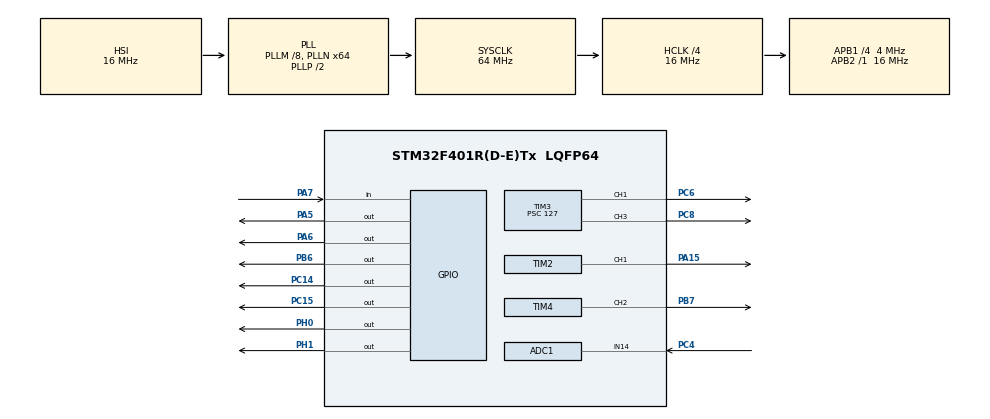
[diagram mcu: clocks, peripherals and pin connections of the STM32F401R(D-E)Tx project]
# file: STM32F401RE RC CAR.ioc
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ADC1.Channel-0\#ChannelRegularConversion=ADC_CHANNEL_14
ADC1.ContinuousConvMode=ENABLE
ADC1.NbrOfConversionFlag=1
ADC1.Rank-0\#ChannelRegularConversion=1
ADC1.SamplingTime-0\#ChannelRegularConversion=ADC_SAMPLETIME_3CYCLES
ADC1.master=1
FREERTOS.Tasks01=servotask,24,128,servoTask,Default,NULL,Dynamic,NULL,NULL;motordrivertask,24,128,motorDriverTask,Default,NULL,Dynamic,NULL,NULL;rfsignaltask,40,128,rfSignalTask,Default,NULL,Dynamic,NULL,NULL
Mcu.Family=STM32F4
Mcu.Name=STM32F401R(D-E)Tx
Mcu.Package=LQFP64
NVIC.PriorityGroup=NVIC_PRIORITYGROUP_4
NVIC.TIM5_IRQn=true\:15\:0\:false\:false\:true\:false\:false\:true\:true
NVIC.TimeBase=TIM5_IRQn
NVIC.TimeBaseIP=TIM5
PA15.Signal=S_TIM2_CH1_ETR
PA5.Signal=GPIO_Output
PA6.Signal=GPIO_Output
PA7.Signal=GPIO_Input
PB6.Signal=GPIO_Output
PB7.Signal=S_TIM4_CH2
PC14-OSC32_IN.Signal=GPIO_Output
PC15-OSC32_OUT.Signal=GPIO_Output
PC4.Signal=ADCx_IN14
PC6.Signal=S_TIM3_CH1
PC8.Signal=S_TIM3_CH3
PH0\ -\ OSC_IN.Signal=GPIO_Output
PH1\ -\ OSC_OUT.Signal=GPIO_Output
ProjectManager.HeapSize=0x200
ProjectManager.StackSize=0x400
ProjectManager.TargetToolchain=STM32CubeIDE
RCC.48MHZClocksFreq_Value=32000000
RCC.AHBCLKDivider=RCC_SYSCLK_DIV4
RCC.AHBFreq_Value=16000000
RCC.APB1CLKDivider=RCC_HCLK_DIV4
RCC.APB1Freq_Value=4000000
RCC.APB1TimFreq_Value=8000000
RCC.APB2Freq_Value=16000000
RCC.APB2TimFreq_Value=16000000
RCC.CortexFreq_Value=16000000
RCC.HCLKFreq_Value=16000000
RCC.HSE_VALUE=25000000
RCC.HSI_VALUE=16000000
RCC.LSE_VALUE=32768
RCC.PLLM=8
RCC.PLLN=64
RCC.SYSCLKFreq_VALUE=64000000
RCC.SYSCLKSource=RCC_SYSCLKSOURCE_PLLCLK
RCC.VCOOutputFreq_Value=128000000
SH.ADCx_IN14.0=ADC1_IN14,IN14
SH.S_TIM2_CH1_ETR.0=TIM2_CH1,PWM Generation1 CH1
SH.S_TIM3_CH1.0=TIM3_CH1,PWM Generation1 CH1
SH.S_TIM3_CH3.0=TIM3_CH3,PWM Generation3 CH3
SH.S_TIM4_CH2.0=TIM4_CH2,PWM Generation2 CH2
TIM1.Period=625
TIM1.Prescaler=1341
TIM2.Channel-PWM\ Generation1\ CH1=TIM_CHANNEL_1
TIM2.Period=625
TIM2.Prescaler=127
TIM3.Channel-PWM\ Generation1\ CH1=TIM_CHANNEL_1
TIM3.Channel-PWM\ Generation3\ CH3=TIM_CHANNEL_3
TIM3.Period=625
TIM3.Prescaler=127
TIM4.Channel-PWM\ Generation2\ CH2=TIM_CHANNEL_2
TIM4.Period=625
TIM4.Prescaler=127
VP_FREERTOS_VS_CMSIS_V2.Mode=CMSIS_V2
VP_SYS_VS_tim5.Mode=TIM5
VP_TIM1_VS_ClockSourceINT.Mode=Internal
VP_TIM2_VS_ClockSourceINT.Mode=Internal
VP_TIM3_VS_ClockSourceINT.Mode=Internal
VP_TIM4_VS_ClockSourceINT.Mode=Internal
board=custom

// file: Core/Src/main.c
/* USER CODE BEGIN Header */
/**
  ******************************************************************************
  * @file           : main.c
  * @brief          : Main program body
  ******************************************************************************
  * @attention
  *
  * Copyright (c) 2024 STMicroelectronics.
  * All rights reserved.
  *
  * This software is licensed under terms that can be found in the LICENSE file
  * in the root directory of this software component.
  * If no LICENSE file comes with this software, it is provided AS-IS.
  *
  ******************************************************************************
  */
/* USER CODE END Header */
#include "main.h"
#include "cmsis_os.h"

ADC_HandleTypeDef hadc1;

TIM_HandleTypeDef htim1;
TIM_HandleTypeDef htim2;
TIM_HandleTypeDef htim3;
TIM_HandleTypeDef htim4;

/* Definitions for servotask */
osThreadId_t servotaskHandle;
const osThreadAttr_t servotask_attributes = {
  .name = "servotask",
  .stack_size = 128 * 4,
  .priority = (osPriority_t) osPriorityNormal,
};
/* Definitions for motordrivertask */
osThreadId_t motordrivertaskHandle;
const osThreadAttr_t motordrivertask_attributes = {
  .name = "motordrivertask",
  .stack_size = 128 * 4,
  .priority = (osPriority_t) osPriorityNormal,
};
/* Definitions for rfsignaltask */
osThreadId_t rfsignaltaskHandle;
const osThreadAttr_t rfsignaltask_attributes = {
  .name = "rfsignaltask",
  .stack_size = 128 * 4,
  .priority = (osPriority_t) osPriorityHigh,
};

void SystemClock_Config(void);
static void MX_GPIO_Init(void);
static void MX_ADC1_Init(void);
static void MX_TIM3_Init(void);
static void MX_TIM1_Init(void);
static void MX_TIM2_Init(void);
static void MX_TIM4_Init(void);
void servoTask(void *argument);
void motorDriverTask(void *argument);
void rfSignalTask(void *argument);

int main(void)
{

  /* MCU Configuration--------------------------------------------------------*/

  /* Reset of all peripherals, Initializes the Flash interface and the Systick. */
  HAL_Init();

  /* Configure the system clock */
  SystemClock_Config();

  /* Initialize all configured peripherals */
  MX_GPIO_Init();
  MX_ADC1_Init();
  MX_TIM3_Init();
  MX_TIM1_Init();
  MX_TIM2_Init();
  MX_TIM4_Init();

  /* Init scheduler */
  osKernelInitialize();

  /* Create the thread(s) */
  /* creation of servotask */
  servotaskHandle = osThreadNew(servoTask, NULL, &servotask_attributes);

  /* creation of motordrivertask */
  motordrivertaskHandle = osThreadNew(motorDriverTask, NULL, &motordrivertask_attributes);

  /* creation of rfsignaltask */
  rfsignaltaskHandle = osThreadNew(rfSignalTask, NULL, &rfsignaltask_attributes);

  /* Start scheduler */
  osKernelStart();

  /* We should never get here as control is now taken by the scheduler */
  /* Infinite loop */
  while (1)
  {

  }
}

void SystemClock_Config(void)
{
  RCC_OscInitTypeDef RCC_OscInitStruct = {0};
  RCC_ClkInitTypeDef RCC_ClkInitStruct = {0};

  /** Configure the main internal regulator output voltage
  */
  __HAL_RCC_PWR_CLK_ENABLE();
  __HAL_PWR_VOLTAGESCALING_CONFIG(PWR_REGULATOR_VOLTAGE_SCALE2);

  /** Initializes the RCC Oscillators according to the specified parameters
  * in the RCC_OscInitTypeDef structure.
  */
  RCC_OscInitStruct.OscillatorType = RCC_OSCILLATORTYPE_HSI;
  RCC_OscInitStruct.HSIState = RCC_HSI_ON;
  RCC_OscInitStruct.HSICalibrationValue = RCC_HSICALIBRATION_DEFAULT;
  RCC_OscInitStruct.PLL.PLLState = RCC_PLL_ON;
  RCC_OscInitStruct.PLL.PLLSource = RCC_PLLSOURCE_HSI;
  RCC_OscInitStruct.PLL.PLLM = 8;
  RCC_OscInitStruct.PLL.PLLN = 64;
  RCC_OscInitStruct.PLL.PLLP = RCC_PLLP_DIV2;
  RCC_OscInitStruct.PLL.PLLQ = 4;
  if (HAL_RCC_OscConfig(&RCC_OscInitStruct) != HAL_OK)
  {
    Error_Handler();
  }

  /** Initializes the CPU, AHB and APB buses clocks
  */
  RCC_ClkInitStruct.ClockType = RCC_CLOCKTYPE_HCLK|RCC_CLOCKTYPE_SYSCLK
                              |RCC_CLOCKTYPE_PCLK1|RCC_CLOCKTYPE_PCLK2;
  RCC_ClkInitStruct.SYSCLKSource = RCC_SYSCLKSOURCE_PLLCLK;
  RCC_ClkInitStruct.AHBCLKDivider = RCC_SYSCLK_DIV4;
  RCC_ClkInitStruct.APB1CLKDivider = RCC_HCLK_DIV4;
  RCC_ClkInitStruct.APB2CLKDivider = RCC_HCLK_DIV1;

  if (HAL_RCC_ClockConfig(&RCC_ClkInitStruct, FLASH_LATENCY_0) != HAL_OK)
  {
    Error_Handler();
  }
}

static void MX_ADC1_Init(void)
{

  ADC_ChannelConfTypeDef sConfig = {0};

  /** Configure the global features of the ADC (Clock, Resolution, Data Alignment and number of conversion)
  */
  hadc1.Instance = ADC1;
  hadc1.Init.ClockPrescaler = ADC_CLOCK_SYNC_PCLK_DIV2;
  hadc1.Init.Resolution = ADC_RESOLUTION_12B;
  hadc1.Init.ScanConvMode = DISABLE;
  hadc1.Init.ContinuousConvMode = ENABLE;
  hadc1.Init.DiscontinuousConvMode = DISABLE;
  hadc1.Init.ExternalTrigConvEdge = ADC_EXTERNALTRIGCONVEDGE_NONE;
  hadc1.Init.ExternalTrigConv = ADC_SOFTWARE_START;
  hadc1.Init.DataAlign = ADC_DATAALIGN_RIGHT;
  hadc1.Init.NbrOfConversion = 1;
  hadc1.Init.DMAContinuousRequests = DISABLE;
  hadc1.Init.EOCSelection = ADC_EOC_SINGLE_CONV;
  if (HAL_ADC_Init(&hadc1) != HAL_OK)
  {
    Error_Handler();
  }

  /** Configure for the selected ADC regular channel its corresponding rank in the sequencer and its sample time.
  */
  sConfig.Channel = ADC_CHANNEL_14;
  sConfig.Rank = 1;
  sConfig.SamplingTime = ADC_SAMPLETIME_3CYCLES;
  if (HAL_ADC_ConfigChannel(&hadc1, &sConfig) != HAL_OK)
  {
    Error_Handler();
  }

}

static void MX_TIM1_Init(void)
{

  TIM_ClockConfigTypeDef sClockSourceConfig = {0};
  TIM_MasterConfigTypeDef sMasterConfig = {0};

  htim1.Instance = TIM1;
  htim1.Init.Prescaler = 1341;
  htim1.Init.CounterMode = TIM_COUNTERMODE_UP;
  htim1.Init.Period = 625;
  htim1.Init.ClockDivision = TIM_CLOCKDIVISION_DIV1;
  htim1.Init.RepetitionCounter = 0;
  htim1.Init.AutoReloadPreload = TIM_AUTORELOAD_PRELOAD_DISABLE;
  if (HAL_TIM_Base_Init(&htim1) != HAL_OK)
  {
    Error_Handler();
  }
  sClockSourceConfig.ClockSource = TIM_CLOCKSOURCE_INTERNAL;
  if (HAL_TIM_ConfigClockSource(&htim1, &sClockSourceConfig) != HAL_OK)
  {
    Error_Handler();
  }
  sMasterConfig.MasterOutputTrigger = TIM_TRGO_RESET;
  sMasterConfig.MasterSlaveMode = TIM_MASTERSLAVEMODE_DISABLE;
  if (HAL_TIMEx_MasterConfigSynchronization(&htim1, &sMasterConfig) != HAL_OK)
  {
    Error_Handler();
  }

}

static void MX_TIM2_Init(void)
{

  TIM_ClockConfigTypeDef sClockSourceConfig = {0};
  TIM_MasterConfigTypeDef sMasterConfig = {0};
  TIM_OC_InitTypeDef sConfigOC = {0};

  htim2.Instance = TIM2;
  htim2.Init.Prescaler = 127;
  htim2.Init.CounterMode = TIM_COUNTERMODE_UP;
  htim2.Init.Period = 625;
  htim2.Init.ClockDivision = TIM_CLOCKDIVISION_DIV1;
  htim2.Init.AutoReloadPreload = TIM_AUTORELOAD_PRELOAD_DISABLE;
  if (HAL_TIM_Base_Init(&htim2) != HAL_OK)
  {
    Error_Handler();
  }
  sClockSourceConfig.ClockSource = TIM_CLOCKSOURCE_INTERNAL;
  if (HAL_TIM_ConfigClockSource(&htim2, &sClockSourceConfig) != HAL_OK)
  {
    Error_Handler();
  }
  if (HAL_TIM_PWM_Init(&htim2) != HAL_OK)
  {
    Error_Handler();
  }
  sMasterConfig.MasterOutputTrigger = TIM_TRGO_RESET;
  sMasterConfig.MasterSlaveMode = TIM_MASTERSLAVEMODE_DISABLE;
  if (HAL_TIMEx_MasterConfigSynchronization(&htim2, &sMasterConfig) != HAL_OK)
  {
    Error_Handler();
  }
  sConfigOC.OCMode = TIM_OCMODE_PWM1;
  sConfigOC.Pulse = 0;
  sConfigOC.OCPolarity = TIM_OCPOLARITY_HIGH;
  sConfigOC.OCFastMode = TIM_OCFAST_DISABLE;
  if (HAL_TIM_PWM_ConfigChannel(&htim2, &sConfigOC, TIM_CHANNEL_1) != HAL_OK)
  {
    Error_Handler();
  }
  HAL_TIM_MspPostInit(&htim2);

}

static void MX_TIM3_Init(void)
{

  TIM_ClockConfigTypeDef sClockSourceConfig = {0};
  TIM_MasterConfigTypeDef sMasterConfig = {0};
  TIM_OC_InitTypeDef sConfigOC = {0};

  htim3.Instance = TIM3;
  htim3.Init.Prescaler = 127;
  htim3.Init.CounterMode = TIM_COUNTERMODE_UP;
  htim3.Init.Period = 21;
  htim3.Init.ClockDivision = TIM_CLOCKDIVISION_DIV1;
  htim3.Init.AutoReloadPreload = TIM_AUTORELOAD_PRELOAD_DISABLE;
  if (HAL_TIM_Base_Init(&htim3) != HAL_OK)
  {
    Error_Handler();
  }
  sClockSourceConfig.ClockSource = TIM_CLOCKSOURCE_INTERNAL;
  if (HAL_TIM_ConfigClockSource(&htim3, &sClockSourceConfig) != HAL_OK)
  {
    Error_Handler();
  }
  if (HAL_TIM_PWM_Init(&htim3) != HAL_OK)
  {
    Error_Handler();
  }
  sMasterConfig.MasterOutputTrigger = TIM_TRGO_RESET;
  sMasterConfig.MasterSlaveMode = TIM_MASTERSLAVEMODE_DISABLE;
  if (HAL_TIMEx_MasterConfigSynchronization(&htim3, &sMasterConfig) != HAL_OK)
  {
    Error_Handler();
  }
  sConfigOC.OCMode = TIM_OCMODE_PWM1;
  sConfigOC.Pulse = 0;
  sConfigOC.OCPolarity = TIM_OCPOLARITY_HIGH;
  sConfigOC.OCFastMode = TIM_OCFAST_DISABLE;
  if (HAL_TIM_PWM_ConfigChannel(&htim3, &sConfigOC, TIM_CHANNEL_1) != HAL_OK)
  {
    Error_Handler();
  }
  if (HAL_TIM_PWM_ConfigChannel(&htim3, &sConfigOC, TIM_CHANNEL_3) != HAL_OK)
  {
    Error_Handler();
  }
  HAL_TIM_MspPostInit(&htim3);

}

static void MX_TIM4_Init(void)
{

  TIM_ClockConfigTypeDef sClockSourceConfig = {0};
  TIM_MasterConfigTypeDef sMasterConfig = {0};
  TIM_OC_InitTypeDef sConfigOC = {0};

  htim4.Instance = TIM4;
  htim4.Init.Prescaler = 127;
  htim4.Init.CounterMode = TIM_COUNTERMODE_UP;
  htim4.Init.Period = 625;
  htim4.Init.ClockDivision = TIM_CLOCKDIVISION_DIV1;
  htim4.Init.AutoReloadPreload = TIM_AUTORELOAD_PRELOAD_DISABLE;
  if (HAL_TIM_Base_Init(&htim4) != HAL_OK)
  {
    Error_Handler();
  }
  sClockSourceConfig.ClockSource = TIM_CLOCKSOURCE_INTERNAL;
  if (HAL_TIM_ConfigClockSource(&htim4, &sClockSourceConfig) != HAL_OK)
  {
    Error_Handler();
  }
  if (HAL_TIM_PWM_Init(&htim4) != HAL_OK)
  {
    Error_Handler();
  }
  sMasterConfig.MasterOutputTrigger = TIM_TRGO_RESET;
  sMasterConfig.MasterSlaveMode = TIM_MASTERSLAVEMODE_DISABLE;
  if (HAL_TIMEx_MasterConfigSynchronization(&htim4, &sMasterConfig) != HAL_OK)
  {
    Error_Handler();
  }
  sConfigOC.OCMode = TIM_OCMODE_PWM1;
  sConfigOC.Pulse = 0;
  sConfigOC.OCPolarity = TIM_OCPOLARITY_HIGH;
  sConfigOC.OCFastMode = TIM_OCFAST_DISABLE;
  if (HAL_TIM_PWM_ConfigChannel(&htim4, &sConfigOC, TIM_CHANNEL_2) != HAL_OK)
  {
    Error_Handler();
  }
  HAL_TIM_MspPostInit(&htim4);

}

static void MX_GPIO_Init(void)
{
  GPIO_InitTypeDef GPIO_InitStruct = {0};

  /* GPIO Ports Clock Enable */
  __HAL_RCC_GPIOC_CLK_ENABLE();
  __HAL_RCC_GPIOH_CLK_ENABLE();
  __HAL_RCC_GPIOA_CLK_ENABLE();
  __HAL_RCC_GPIOB_CLK_ENABLE();

  /*Configure GPIO pin Output Level */
  HAL_GPIO_WritePin(GPIOC, GPIO_PIN_14|GPIO_PIN_15, GPIO_PIN_RESET);

  /*Configure GPIO pin Output Level */
  HAL_GPIO_WritePin(GPIOH, GPIO_PIN_0|GPIO_PIN_1, GPIO_PIN_RESET);

  /*Configure GPIO pin Output Level */
  HAL_GPIO_WritePin(GPIOA, GPIO_PIN_5|GPIO_PIN_6, GPIO_PIN_RESET);

  /*Configure GPIO pin Output Level */
  HAL_GPIO_WritePin(GPIOB, GPIO_PIN_6, GPIO_PIN_RESET);

  /*Configure GPIO pins : PC14 PC15 */
  GPIO_InitStruct.Pin = GPIO_PIN_14|GPIO_PIN_15;
  GPIO_InitStruct.Mode = GPIO_MODE_OUTPUT_PP;
  GPIO_InitStruct.Pull = GPIO_NOPULL;
  GPIO_InitStruct.Speed = GPIO_SPEED_FREQ_LOW;
  HAL_GPIO_Init(GPIOC, &GPIO_InitStruct);

  /*Configure GPIO pins : PH0 PH1 */
  GPIO_InitStruct.Pin = GPIO_PIN_0|GPIO_PIN_1;
  GPIO_InitStruct.Mode = GPIO_MODE_OUTPUT_PP;
  GPIO_InitStruct.Pull = GPIO_NOPULL;
  GPIO_InitStruct.Speed = GPIO_SPEED_FREQ_LOW;
  HAL_GPIO_Init(GPIOH, &GPIO_InitStruct);

  /*Configure GPIO pins : PA5 PA6 */
  GPIO_InitStruct.Pin = GPIO_PIN_5|GPIO_PIN_6;
  GPIO_InitStruct.Mode = GPIO_MODE_OUTPUT_PP;
  GPIO_InitStruct.Pull = GPIO_NOPULL;
  GPIO_InitStruct.Speed = GPIO_SPEED_FREQ_LOW;
  HAL_GPIO_Init(GPIOA, &GPIO_InitStruct);

  /*Configure GPIO pin : PA7 */
  GPIO_InitStruct.Pin = GPIO_PIN_7;
  GPIO_InitStruct.Mode = GPIO_MODE_INPUT;
  GPIO_InitStruct.Pull = GPIO_NOPULL;
  HAL_GPIO_Init(GPIOA, &GPIO_InitStruct);

  /*Configure GPIO pin : PB6 */
  GPIO_InitStruct.Pin = GPIO_PIN_6;
  GPIO_InitStruct.Mode = GPIO_MODE_OUTPUT_PP;
  GPIO_InitStruct.Pull = GPIO_NOPULL;
  GPIO_InitStruct.Speed = GPIO_SPEED_FREQ_LOW;
  HAL_GPIO_Init(GPIOB, &GPIO_InitStruct);

}

void servoTask(void *argument)
{
  for(;;)
  {
    osDelay(1);
  }
}

void motorDriverTask(void *argument)
{
  /* USER CODE BEGIN motorDriverTask */
	uint16_t readValue;
	  int speedA;

	  HAL_ADC_Start(&hadc1); // Start ADC conversion
	  // Start PWM for all motors, assuming they are linked to different channels.
	  HAL_TIM_PWM_Start(&htim3, TIM_CHANNEL_1); // Assuming this controls Motor A
	  HAL_TIM_PWM_Start(&htim3, TIM_CHANNEL_3); // Assuming this controls Motor B
	  HAL_GPIO_WritePin(GPIOA, GPIO_PIN_5, 0);
	  HAL_GPIO_WritePin(GPIOA, GPIO_PIN_6, 0);
	  HAL_GPIO_WritePin(GPIOA, GPIO_PIN_7, 0);
	  HAL_GPIO_WritePin(GPIOB, GPIO_PIN_6, 0);
	  // Initialize PWM for motors C and D as needed. Example:
	  // HAL_TIM_PWM_Start(&htim3, TIM_CHANNEL_X); // For Motor C
	  // HAL_TIM_PWM_Start(&htim3, TIM_CHANNEL_Y); // For Motor D

  /* Infinite loop */
  for(;;)
  {
	  HAL_ADC_PollForConversion(&hadc1, 1000);
	        readValue = HAL_ADC_GetValue(&hadc1);

	        // Logic for Motor A
	        if (readValue < 1790) {
	            // Set Motor A backward
	            HAL_GPIO_WritePin(GPIOA, GPIO_PIN_5, 0);
	            HAL_GPIO_WritePin(GPIOA, GPIO_PIN_6, 1);

	            HAL_GPIO_WritePin(GPIOA, GPIO_PIN_7, GPIO_PIN_SET);
	            HAL_GPIO_WritePin(GPIOB, GPIO_PIN_6, GPIO_PIN_RESET);
	            speedA = (1790 - readValue) * (-1) / 3;
	        } else if (readValue > 2220) {
	            // Set Motor A forward
	            HAL_GPIO_WritePin(GPIOA, GPIO_PIN_6, 0);
	            HAL_GPIO_WritePin(GPIOA, GPIO_PIN_5, 1);

	            HAL_GPIO_WritePin(GPIOB, GPIO_PIN_6, GPIO_PIN_SET);
	            HAL_GPIO_WritePin(GPIOA, GPIO_PIN_7, GPIO_PIN_RESET);

	            speedA = (readValue - 2220) / 3;
	        } else {
	            // Stop Motor A
	            speedA = 0;
	        }

//

	        // Update PWM duty cycle for all motors
	        __HAL_TIM_SET_COMPARE(&htim3, TIM_CHANNEL_1, speedA); // Update for Motor A
	        __HAL_TIM_SET_COMPARE(&htim3, TIM_CHANNEL_3, speedA); // Update for Motor B
	        // Update PWM for motors C and D as necessary. Example:
	        // __HAL_TIM_SET_COMPARE(&htim3, TIM_CHANNEL_X, speedC); // For Motor C
	        // __HAL_TIM_SET_COMPARE(&htim3, TIM_CHANNEL_Y, speedD); // For Motor D

	        osDelay(50); // Task scheduling delay
  }
  /* USER CODE END motorDriverTask */
}

void rfSignalTask(void *argument)
{
  for(;;)
  {
    osDelay(1);
  }
}

void HAL_TIM_PeriodElapsedCallback(TIM_HandleTypeDef *htim)
{
  if (htim->Instance == TIM5) {
    HAL_IncTick();
  }
}

void Error_Handler(void)
{
  __disable_irq();
  while (1)
  {
  }
}
